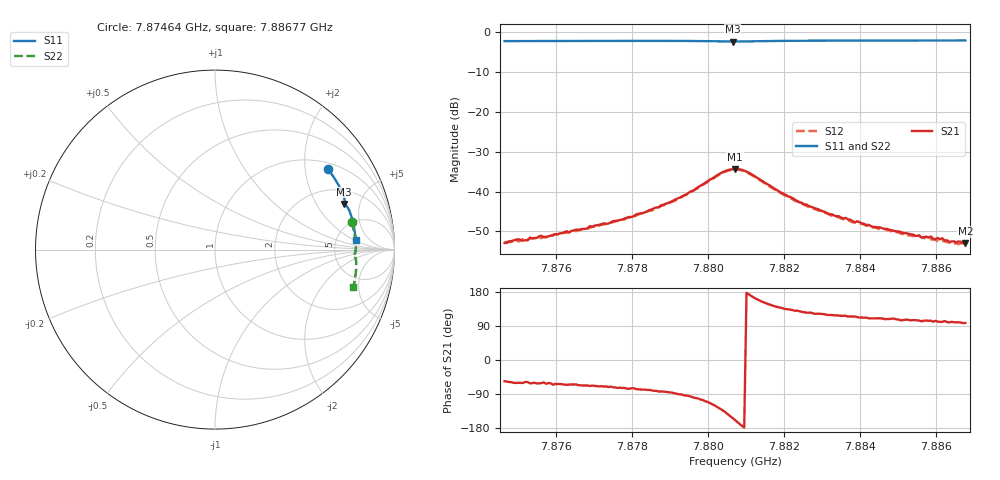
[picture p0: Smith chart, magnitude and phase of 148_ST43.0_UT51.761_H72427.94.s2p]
#  HZ  S  DB  R  50.00
! Rohde & Schwarz Vector Network Analyzer
! Rohde-Schwarz,ZNB20-2Port,1311601062101988,3.16
! Created: UTC 1/12/2023, 6:40:18 PM
! freq[Hz]  db:S11  ang:S11  db:S21  ang:S21  db:S12  ang:S12  db:S22  ang:S22
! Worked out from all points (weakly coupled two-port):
!   201 points, 7.87464 GHz to 7.88677 GHz, reference 50 ohm
!   highest |S21| = -34.29 dB at 7.8807 GHz (marker M1); lowest = -53.0 dB at 7.88677 GHz (marker M2)
!   lowest |S11| = -2.3 dB at 7.88064 GHz (marker M3), VSWR 7.44, Z = 146 + j178 ohm
!   |S11| at or under -10 dB: nowhere
!   |S22| runs from -2.3 to -2.0 dB; largest |S21 - S12| = 0.0012
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7.874639e9  -2.25 35.4  -52.90 -56.0  -52.53 -60.8  -2.20 11.4
7.8747e9  -2.25 35.2  -52.69 -57.2  -52.93 -60.6  -2.20 11.3
7.875731e9  -2.22 32.4  -51.31 -63.0  -51.53 -66.0  -2.17 8.7
7.876701e9  -2.21 29.8  -49.34 -67.2  -49.55 -69.9  -2.13 6.5
7.877975e9  -2.20 26.3  -46.39 -74.7  -46.36 -78.1  -2.11 3.5
7.878703e9  -2.19 24.3  -43.88 -83.3  -43.88 -86.3  -2.10 1.8
7.879613e9  -2.22 21.6  -39.72 -99.1  -39.74 -102.3  -2.12 -0.5
7.88034e9  -2.31 19.8  -35.32 -130.3  -35.55 -133.7  -2.21 -2.0
7.880644e9  -2.35 19.4  -34.36 -153.4  -34.52 -156.6  -2.25 -2.3
7.880704e9  -2.35 19.4  -34.29 -158.4  -34.48 -161.9  -2.26 -2.3
7.881008e9  -2.31 19.1  -35.00 177.2  -35.14 173.9  -2.22 -2.5
7.882039e9  -2.18 16.5  -40.81 134.4  -41.08 131.8  -2.06 -4.6
7.882767e9  -2.14 14.4  -44.02 122.9  -44.29 119.5  -2.03 -6.2
7.883616e9  -2.13 12.1  -46.57 116.7  -47.26 113.1  -2.00 -8.2
7.883858e9  -2.12 11.5  -47.70 115.0  -47.71 110.4  -2.00 -8.8
7.884768e9  -2.11 9.1  -49.57 108.2  -49.72 105.1  -1.99 -10.8
7.885557e9  -2.10 7.0  -50.96 103.8  -51.27 100.8  -1.97 -12.5
7.885617e9  -2.09 6.9  -51.56 102.1  -51.45 100.4  -1.96 -12.7
7.88586e9  -2.09 6.2  -51.25 103.8  -51.95 100.7  -1.96 -13.2
7.885981e9  -2.09 5.9  -51.94 103.4  -52.12 97.8  -1.96 -13.5
7.886648e9  -2.09 4.2  -52.61 98.9  -52.95 95.6  -1.95 -14.9
7.88677e9  -2.08 3.8  -53.00 97.8  -53.69 95.4  -1.95 -15.1
